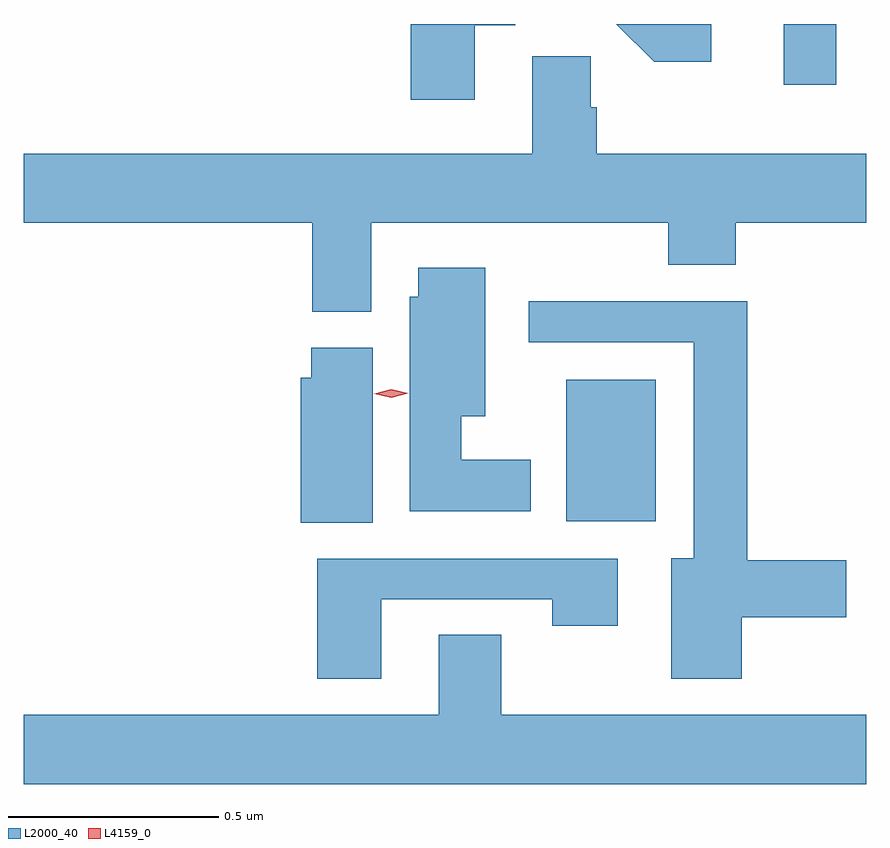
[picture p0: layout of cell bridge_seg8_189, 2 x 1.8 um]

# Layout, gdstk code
import gdstk
lib = gdstk.Library(unit=1e-6, precision=1e-09)
def R(c, l, rs):  # rectangles x0, y0, x1, y1
    for r in rs: c.add(gdstk.rectangle(r[:2], r[2:], *l))
def P(c, l, *ps):  # polygons
    for p in ps: c.add(gdstk.Polygon(p, *l))
L2000_40 = (2000, 40)
L4159_0 = (4159, 0)

bridge_seg8_189 = lib.new_cell('bridge_seg8_189')
R(bridge_seg8_189, L2000_40, [(270.074,1123.784,270.286,1124.119), (270.59,1124.82,270.715,1124.964)])
P(bridge_seg8_189, L2000_40, [(269.857,1124.961),(269.953,1124.961),(269.953,1124.964),(269.705,1124.964),(269.705,1124.784),(269.857,1124.784)],
  [(270.418,1124.964),(270.192,1124.964),(270.283,1124.874),(270.418,1124.874)],
  [(269.611,1124.492),(270.316,1124.492),(270.316,1124.393),(270.476,1124.393),(270.476,1124.492),(270.786,1124.492),(270.786,1124.656),(270.146,1124.656),(270.146,1124.766),(270.132,1124.766),(270.132,1124.888),(269.993,1124.888),(269.993,1124.656),(268.786,1124.656),(268.786,1124.492),(269.471,1124.492),(269.471,1124.281),(269.611,1124.281)],
  [(269.989,1123.93),(269.824,1123.93),(269.824,1124.033),(269.881,1124.033),(269.881,1124.386),(269.723,1124.386),(269.723,1124.316),(269.702,1124.316),(269.702,1123.808),(269.989,1123.808)],
  [(270.49,1123.556),(270.739,1123.556),(270.739,1123.691),(270.503,1123.691),(270.503,1124.306),(269.985,1124.306),(269.985,1124.208),(270.377,1124.208),(270.377,1123.696),(270.323,1123.696),(270.323,1123.41),(270.49,1123.41)],
  [(269.614,1124.196),(269.468,1124.196),(269.468,1124.124),(269.444,1124.124),(269.444,1123.78),(269.614,1123.78)],
  [(269.635,1123.599),(270.04,1123.599),(270.04,1123.536),(270.196,1123.536),(270.196,1123.695),(269.483,1123.695),(269.483,1123.41),(269.635,1123.41)],
  [(270.786,1123.324),(269.919,1123.324),(269.919,1123.514),(269.771,1123.514),(269.771,1123.324),(268.786,1123.324),(268.786,1123.16),(270.786,1123.16)])
P(bridge_seg8_189, L4159_0, [(269.658,1124.077),(269.618,1124.086),(269.618,1124.086),(269.618,1124.086),(269.658,1124.097),(269.699,1124.087),(269.699,1124.087),(269.699,1124.087)])

lib.write_gds('bridge_seg8_189.gds')
